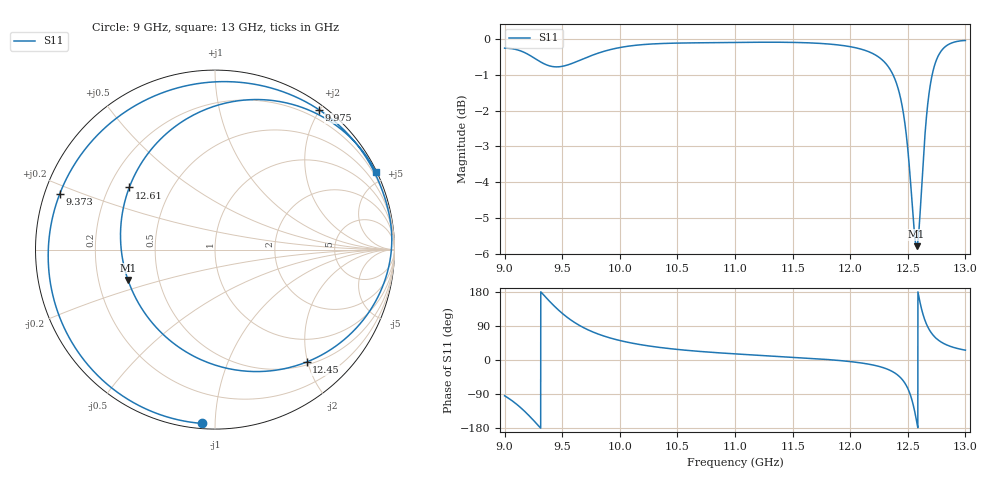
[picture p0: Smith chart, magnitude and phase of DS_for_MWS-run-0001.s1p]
! TOUCHSTONE file generated by CST DESIGN STUDIO
! Date and time: Tue Feb  4 16:48:15 2025
! Project name: C:\Work\MatlabApps\UnitCellOptimizationMatlab\CST\unitcell.cst
! Tree item: Tasks\Sweep1\SPara1\S-Parameters
! Header version: 2024
! Port assignment regex: !\s*Touchstone port\s*([0-9]+)\s*=\s*(CST MWS port|CST DES external port|CST DES block port)\s*(.+)\s* \(\"(.*)\"\)(\s*mode\s*([0-9]+))?.*
! Touchstone port assignment:
! Touchstone port 1 = CST DES external port 1 ("")
# GHz S MA R 50
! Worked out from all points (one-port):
!   4001 points, 9 GHz to 13 GHz, reference 50 ohm
!   lowest |S11| = -5.8 dB at 12.58 GHz (marker M1), VSWR 3.11, Z = 16.5 - j7.59 ohm
!   |S11| at or under -10 dB: nowhere
!   S11 on the Smith chart (normalised r, x): 9 GHz: 0.03, -0.93; 9.373 GHz: 0.04, +0.17; 9.975 GHz: 0.07, +1.99; 12.45 GHz: 0.55, -1.98; 12.61 GHz: 0.28, +0.30; 13 GHz: 0.05, +4.35
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9  0.9712 -94.4
9.089  0.9677 -113.0
9.168  0.9583 -133.7
9.275  0.9368 -167.2
9.373  0.9191 160.4
9.5  0.9159 123.2
9.579  0.9237 104.8
9.673  0.9369 87.4
9.814  0.9559 68.3
9.975  0.9712 53.3
10  0.973 51.4
10.5  0.9871 27.9
11  0.9891 16.2
11.5  0.9893 7.3
12  0.9757 -4.2
12.306  0.9254 -22.2
12.389  0.8784 -34.6
12.45  0.8078 -50.9
12.5  0.7017 -75.0
12.539  0.584 -108.7
12.576  0.5135 -160.7
12.612  0.5899 144.0
12.642  0.7087 110.8
12.672  0.808 88.2
12.717  0.8994 66.6
12.765  0.9478 52.5
12.859  0.9839 37.1
13  0.9954 25.9
